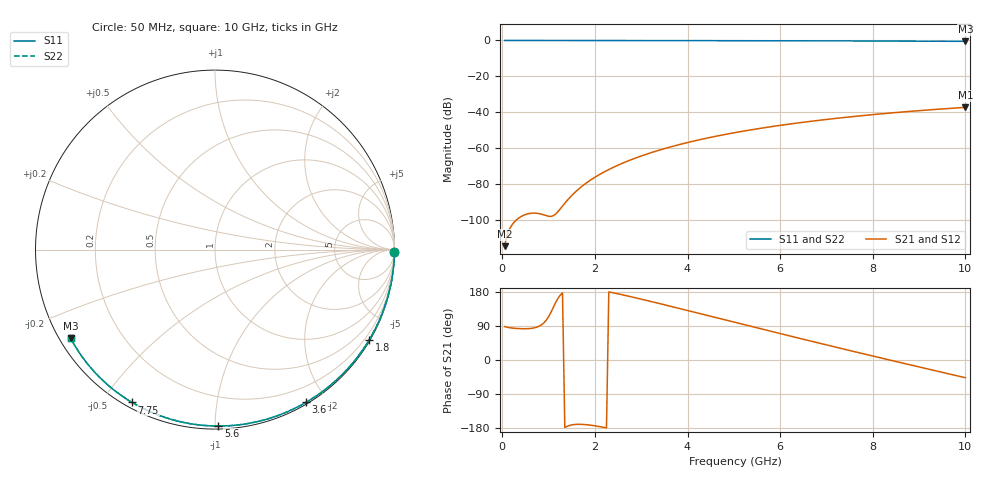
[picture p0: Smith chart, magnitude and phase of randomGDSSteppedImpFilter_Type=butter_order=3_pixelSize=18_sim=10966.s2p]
! freq	dB(S11)	phase(S11)	dB(S12)	phase(S12)
!  dB(S21)	phase(S21)	dB(S22)	phase(S22)
!S-par simulation data
#  GHz  S  DB  R 50
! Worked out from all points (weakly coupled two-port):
!   200 points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, 50 MHz to 10 GHz, reference 50 ohm
!   highest |S21| = -37.21 dB at 10 GHz (marker M1); lowest = -114.4 dB at 50 MHz (marker M2)
!   lowest |S11| = -0.5 dB at 10 GHz (marker M3), VSWR 34.72, Z = 1.56 - j14.1 ohm
!   |S11| at or under -10 dB: nowhere
!   |S22| runs from -0.5 to 0.0 dB; largest |S21 - S12| = 0
!   S11 on the Smith chart (normalised r, x): 50 MHz: open; 1.8 GHz: 0.03, -3.69; 3.6 GHz: 0.02, -1.76; 5.6 GHz: 0.02, -1.02; 7.75 GHz: 0.02, -0.59; 10 GHz: 0.03, -0.28
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0.05  -0.00 -0.9  -114.42 88.1  -114.42 88.1  -0.00 -0.9
0.45  -0.01 -7.7  -97.35 82.5  -97.35 82.5  -0.01 -7.7
0.9  -0.02 -15.3  -97.05 98.1  -97.05 98.1  -0.02 -15.3
1.3  -0.03 -22.0  -92.13 177.2  -92.13 177.2  -0.03 -22.0
1.75  -0.04 -29.5  -80.51 -170.1  -80.51 -170.1  -0.04 -29.5
1.8  -0.04 -30.3  -79.54 -170.6  -79.54 -170.6  -0.04 -30.3
1.95  -0.04 -32.8  -76.89 -172.7  -76.89 -172.7  -0.04 -32.8
2.1  -0.04 -35.3  -74.55 -175.6  -74.55 -175.6  -0.04 -35.3
2.3  -0.05 -38.5  -71.79 179.7  -71.79 179.7  -0.05 -38.5
2.5  -0.05 -41.8  -69.35 174.6  -69.35 174.6  -0.05 -41.8
2.9  -0.06 -48.2  -65.18 163.5  -65.18 163.5  -0.06 -48.2
3.4  -0.07 -56.1  -60.92 148.8  -60.92 148.8  -0.07 -56.1
3.6  -0.08 -59.2  -59.44 142.8  -59.44 142.8  -0.08 -59.2
4.3  -0.10 -69.9  -54.98 121.5  -54.98 121.5  -0.10 -69.9
5.05  -0.12 -81.0  -51.14 98.6  -51.14 98.6  -0.12 -81.0
5.6  -0.15 -88.9  -48.77 81.8  -48.77 81.8  -0.15 -88.9
6.15  -0.17 -96.7  -46.69 65.2  -46.69 65.2  -0.17 -96.7
6.7  -0.20 -104.3  -44.85 48.7  -44.85 48.7  -0.20 -104.3
7.75  -0.27 -118.5  -41.87 17.8  -41.87 17.8  -0.27 -118.5
8.35  -0.32 -126.5  -40.43 0.3  -40.43 0.3  -0.32 -126.5
9.2  -0.41 -137.7  -38.64 -24.0  -38.64 -24.0  -0.41 -137.7
10  -0.50 -148.4  -37.21 -46.7  -37.21 -46.7  -0.50 -148.4
